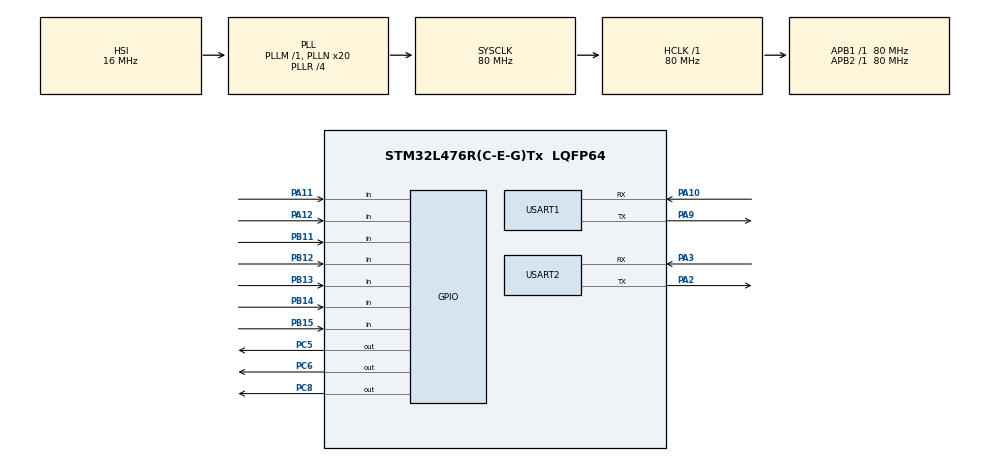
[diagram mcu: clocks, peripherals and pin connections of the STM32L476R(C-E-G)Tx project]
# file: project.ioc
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Mcu.Family=STM32L4
Mcu.Name=STM32L476R(C-E-G)Tx
Mcu.Package=LQFP64
NVIC.PriorityGroup=NVIC_PRIORITYGROUP_4
NVIC.USART1_IRQn=true\:0\:0\:false\:false\:true\:true
NVIC.USART2_IRQn=true\:0\:0\:false\:false\:true\:true
PA10.Mode=Asynchronous
PA10.Signal=USART1_RX
PA11.Signal=GPIO_Input
PA12.Signal=GPIO_Input
PA2.Mode=Asynchronous
PA2.Signal=USART2_TX
PA3.Mode=Asynchronous
PA3.Signal=USART2_RX
PA9.Mode=Asynchronous
PA9.Signal=USART1_TX
PB11.Signal=GPIO_Input
PB12.Signal=GPIO_Input
PB13.Signal=GPIO_Input
PB14.Signal=GPIO_Input
PB15.Signal=GPIO_Input
PC5.Signal=GPIO_Output
PC6.Signal=GPIO_Output
PC8.Signal=GPIO_Output
ProjectManager.HeapSize=0x200
ProjectManager.StackSize=0x400
ProjectManager.TargetToolchain=MDK-ARM V5
RCC.ADCFreq_Value=64000000
RCC.AHBFreq_Value=80000000
RCC.APB1Freq_Value=80000000
RCC.APB1TimFreq_Value=80000000
RCC.APB2Freq_Value=80000000
RCC.APB2TimFreq_Value=80000000
RCC.CortexFreq_Value=80000000
RCC.HCLKFreq_Value=80000000
RCC.HSE_VALUE=8000000
RCC.HSI_VALUE=16000000
RCC.LSE_VALUE=32768
RCC.MSI_VALUE=4000000
RCC.PLLN=20
RCC.PLLR=RCC_PLLR_DIV4
RCC.PLLSourceVirtual=RCC_PLLSOURCE_HSI
RCC.SYSCLKFreq_VALUE=80000000
RCC.SYSCLKSource=RCC_SYSCLKSOURCE_PLLCLK
RCC.USBFreq_Value=64000000
RCC.VCOOutputFreq_Value=320000000
USART1.VirtualMode-Asynchronous=VM_ASYNC
USART2.VirtualMode-Asynchronous=VM_ASYNC
board=custom

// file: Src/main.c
/**
  ******************************************************************************
  * @file           : main.c
  * @brief          : Main program body
  ******************************************************************************
  ** This notice applies to any and all portions of this file
  * that are not between comment pairs USER CODE BEGIN and
  * USER CODE END. Other portions of this file, whether
  * inserted by the user or by software development tools
  * are owned by their respective copyright owners.
  *
  * COPYRIGHT(c) 2019 STMicroelectronics
  *
  * Redistribution and use in source and binary forms, with or without modification,
  * are permitted provided that the following conditions are met:
  *   1. Redistributions of source code must retain the above copyright notice,
  *      this list of conditions and the following disclaimer.
  *   2. Redistributions in binary form must reproduce the above copyright notice,
  *      this list of conditions and the following disclaimer in the documentation
  *      and/or other materials provided with the distribution.
  *   3. Neither the name of STMicroelectronics nor the names of its contributors
  *      may be used to endorse or promote products derived from this software
  *      without specific prior written permission.
  *
  * THIS SOFTWARE IS PROVIDED BY THE COPYRIGHT HOLDERS AND CONTRIBUTORS "AS IS"
  * AND ANY EXPRESS OR IMPLIED WARRANTIES, INCLUDING, BUT NOT LIMITED TO, THE
  * IMPLIED WARRANTIES OF MERCHANTABILITY AND FITNESS FOR A PARTICULAR PURPOSE ARE
  * DISCLAIMED. IN NO EVENT SHALL THE COPYRIGHT HOLDER OR CONTRIBUTORS BE LIABLE
  * FOR ANY DIRECT, INDIRECT, INCIDENTAL, SPECIAL, EXEMPLARY, OR CONSEQUENTIAL
  * DAMAGES (INCLUDING, BUT NOT LIMITED TO, PROCUREMENT OF SUBSTITUTE GOODS OR
  * SERVICES; LOSS OF USE, DATA, OR PROFITS; OR BUSINESS INTERRUPTION) HOWEVER
  * CAUSED AND ON ANY THEORY OF LIABILITY, WHETHER IN CONTRACT, STRICT LIABILITY,
  * OR TORT (INCLUDING NEGLIGENCE OR OTHERWISE) ARISING IN ANY WAY OUT OF THE USE
  * OF THIS SOFTWARE, EVEN IF ADVISED OF THE POSSIBILITY OF SUCH DAMAGE.
  *
  ******************************************************************************
  */
#include "main.h"
#include "stm32l4xx_hal.h"
#include "usart.h"
#include "gpio.h"

/* USER CODE BEGIN Includes */
#include "i2c.h"
#include "i2c_2.h"
#include "tcs34725.h"
#include "VL6180.h"
#include "common.h"

uint8_t v_ID = 0;
/* USER CODE END Includes */

/* USER CODE BEGIN PV */
/* Private variables ---------------------------------------------------------*/

/* USER CODE END PV */

void SystemClock_Config(void);

/* USER CODE BEGIN PFP */
/* Private function prototypes -----------------------------------------------*/

/* USER CODE END PFP */

/* USER CODE BEGIN 0 */
	uint8_t Distance_0 = 0;
	uint8_t count = 0;
	uint32_t time = 0;
	uint32_t comp=0;
	uint32_t mea = 0;
/* USER CODE END 0 */

int main(void)
{

  /* MCU Configuration----------------------------------------------------------*/

  /* Reset of all peripherals, Initializes the Flash interface and the Systick. */
  HAL_Init();

  /* Configure the system clock */
  SystemClock_Config();

  /* Initialize all configured peripherals */
  MX_GPIO_Init();
  MX_USART2_UART_Init();
  MX_USART1_UART_Init();
  /* USER CODE BEGIN 2 */

	I2C_InitGPIO();
	TCS34725_Init();
	printf("hello\n");
	TCS34725_Enable();
	TCS34725_ReadID();

	HAL_Delay(5);
	I2C_2_InitGPIO();
	v_ID = VL6180X_CheckID();
	VL6180x_Init();

	HAL_UART_Receive_IT(&huart1,&rxbuf,Rxbuf_Size);

  /* USER CODE END 2 */

  /* Infinite loop */
  while (1)
  {

//  /* USER CODE BEGIN 3 */
		MotorStart(1);
		MotorStart(2);
		MotorStart(3);
//		HAL_Delay(500);
//		MotorStop(1);
//		MotorStop(2);
//		MotorStop(3);
//		LedLight(2);
//		LedLight(1);
//		LedLight(3);
//

		Distance = RangePollingRead();
		TCS34725_GetRGB();
//		v_ID = VL6180X_CheckID();
//		I2C_SDA_LOW();
//			for(uint16_t j=0;j<100;j++) ;
//		I2C_SDA_HIGH();
//			for(uint16_t j=0;j<100;j++) ;
		TCS34725_ReadID();
		seed++;
		GetSensorData();
		GameControl();
		ButtonToID();
		MessageProcess();

		time = HAL_GetTick();
		if(time - mea > 100)
		{
			HAL_UART_Transmit(&huart1,txbuf,5,100);
			count++;
		  mea = HAL_GetTick();
		}
  }
  /* USER CODE END 3 */

}

void SystemClock_Config(void)
{

  RCC_OscInitTypeDef RCC_OscInitStruct;
  RCC_ClkInitTypeDef RCC_ClkInitStruct;
  RCC_PeriphCLKInitTypeDef PeriphClkInit;

    /**Initializes the CPU, AHB and APB busses clocks
    */
  RCC_OscInitStruct.OscillatorType = RCC_OSCILLATORTYPE_HSI;
  RCC_OscInitStruct.HSIState = RCC_HSI_ON;
  RCC_OscInitStruct.HSICalibrationValue = 16;
  RCC_OscInitStruct.PLL.PLLState = RCC_PLL_ON;
  RCC_OscInitStruct.PLL.PLLSource = RCC_PLLSOURCE_HSI;
  RCC_OscInitStruct.PLL.PLLM = 1;
  RCC_OscInitStruct.PLL.PLLN = 20;
  RCC_OscInitStruct.PLL.PLLP = RCC_PLLP_DIV7;
  RCC_OscInitStruct.PLL.PLLQ = RCC_PLLQ_DIV2;
  RCC_OscInitStruct.PLL.PLLR = RCC_PLLR_DIV4;
  if (HAL_RCC_OscConfig(&RCC_OscInitStruct) != HAL_OK)
  {
    _Error_Handler(__FILE__, __LINE__);
  }

    /**Initializes the CPU, AHB and APB busses clocks
    */
  RCC_ClkInitStruct.ClockType = RCC_CLOCKTYPE_HCLK|RCC_CLOCKTYPE_SYSCLK
                              |RCC_CLOCKTYPE_PCLK1|RCC_CLOCKTYPE_PCLK2;
  RCC_ClkInitStruct.SYSCLKSource = RCC_SYSCLKSOURCE_PLLCLK;
  RCC_ClkInitStruct.AHBCLKDivider = RCC_SYSCLK_DIV1;
  RCC_ClkInitStruct.APB1CLKDivider = RCC_HCLK_DIV1;
  RCC_ClkInitStruct.APB2CLKDivider = RCC_HCLK_DIV1;

  if (HAL_RCC_ClockConfig(&RCC_ClkInitStruct, FLASH_LATENCY_4) != HAL_OK)
  {
    _Error_Handler(__FILE__, __LINE__);
  }

  PeriphClkInit.PeriphClockSelection = RCC_PERIPHCLK_USART1|RCC_PERIPHCLK_USART2;
  PeriphClkInit.Usart1ClockSelection = RCC_USART1CLKSOURCE_PCLK2;
  PeriphClkInit.Usart2ClockSelection = RCC_USART2CLKSOURCE_PCLK1;
  if (HAL_RCCEx_PeriphCLKConfig(&PeriphClkInit) != HAL_OK)
  {
    _Error_Handler(__FILE__, __LINE__);
  }

    /**Configure the main internal regulator output voltage
    */
  if (HAL_PWREx_ControlVoltageScaling(PWR_REGULATOR_VOLTAGE_SCALE1) != HAL_OK)
  {
    _Error_Handler(__FILE__, __LINE__);
  }

    /**Configure the Systick interrupt time
    */
  HAL_SYSTICK_Config(HAL_RCC_GetHCLKFreq()/1000);

    /**Configure the Systick
    */
  HAL_SYSTICK_CLKSourceConfig(SYSTICK_CLKSOURCE_HCLK);

  /* SysTick_IRQn interrupt configuration */
  HAL_NVIC_SetPriority(SysTick_IRQn, 0, 0);
}

/* USER CODE BEGIN 4 */
void HAL_UART_RxCpltCallback(UART_HandleTypeDef *huart)
{

	MessageProcess();

//  HAL_UART_Transmit(huart,txbuf,5,1000);
	HAL_UART_Receive_IT(huart,&rxbuf,Rxbuf_Size);
}

/* USER CODE END 4 */

void _Error_Handler(char *file, int line)
{
  while(1)
  {
  }
}

/************************ (C) COPYRIGHT STMicroelectronics *****END OF FILE****/
